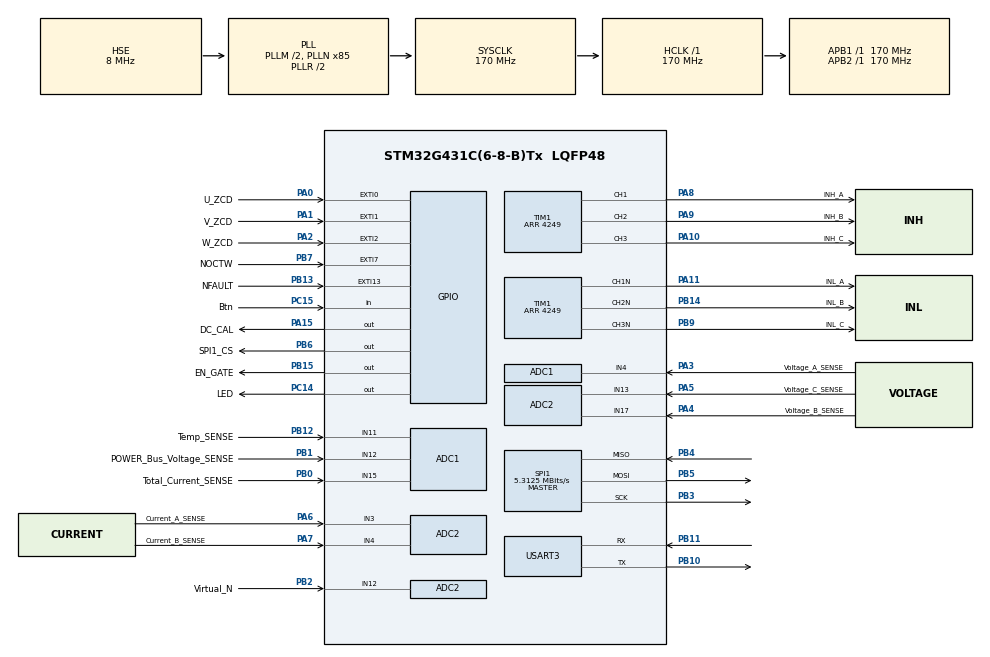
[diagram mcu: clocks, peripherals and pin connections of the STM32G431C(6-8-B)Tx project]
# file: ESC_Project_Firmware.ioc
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ADC1.Channel-0\#ChannelRegularConversion=ADC_CHANNEL_4
ADC1.Channel-1\#ChannelRegularConversion=ADC_CHANNEL_11
ADC1.Channel-2\#ChannelRegularConversion=ADC_CHANNEL_12
ADC1.Channel-3\#ChannelRegularConversion=ADC_CHANNEL_15
ADC1.ContinuousConvMode=ENABLE
ADC1.DMAContinuousRequests=ENABLE
ADC1.EOCSelection=ADC_EOC_SEQ_CONV
ADC1.NbrOfConversion=4
ADC1.NbrOfConversionFlag=1
ADC1.OffsetNumber-0\#ChannelRegularConversion=ADC_OFFSET_NONE
ADC1.OffsetNumber-1\#ChannelRegularConversion=ADC_OFFSET_NONE
ADC1.OffsetNumber-2\#ChannelRegularConversion=ADC_OFFSET_NONE
ADC1.OffsetNumber-3\#ChannelRegularConversion=ADC_OFFSET_NONE
ADC1.Rank-0\#ChannelRegularConversion=1
ADC1.Rank-1\#ChannelRegularConversion=2
ADC1.Rank-2\#ChannelRegularConversion=3
ADC1.Rank-3\#ChannelRegularConversion=4
ADC1.SamplingTime-0\#ChannelRegularConversion=ADC_SAMPLETIME_24CYCLES_5
ADC1.SamplingTime-1\#ChannelRegularConversion=ADC_SAMPLETIME_24CYCLES_5
ADC1.SamplingTime-2\#ChannelRegularConversion=ADC_SAMPLETIME_24CYCLES_5
ADC1.SamplingTime-3\#ChannelRegularConversion=ADC_SAMPLETIME_24CYCLES_5
ADC1.master=1
ADC2.Channel-0\#ChannelRegularConversion=ADC_CHANNEL_12
ADC2.Channel-5\#ChannelRegularConversion=ADC_CHANNEL_13
ADC2.Channel-6\#ChannelRegularConversion=ADC_CHANNEL_17
ADC2.ContinuousConvMode=DISABLE
ADC2.DMAContinuousRequests=ENABLE
ADC2.EOCSelection=ADC_EOC_SEQ_CONV
ADC2.EnableInjectedConversion=ENABLE
ADC2.EnableInjectedOversampling=ENABLE
ADC2.ExternalTrigInjecConv=ADC_EXTERNALTRIGINJEC_T1_TRGO
ADC2.InjNumberOfConversion=2
ADC2.InjOversamplingRatio=ADC_OVERSAMPLING_RATIO_8
ADC2.InjOversamplingRightShift=ADC_RIGHTBITSHIFT_3
ADC2.InjectedChannel-10\#ChannelInjectedConversion=ADC_CHANNEL_4
ADC2.InjectedChannel-9\#ChannelInjectedConversion=ADC_CHANNEL_3
ADC2.InjectedOffsetNumber-10\#ChannelInjectedConversion=ADC_OFFSET_NONE
ADC2.InjectedOffsetNumber-9\#ChannelInjectedConversion=ADC_OFFSET_NONE
ADC2.InjectedRank-10\#ChannelInjectedConversion=2
ADC2.InjectedRank-9\#ChannelInjectedConversion=1
ADC2.InjectedSamplingTime-10\#ChannelInjectedConversion=ADC_SAMPLETIME_24CYCLES_5
ADC2.InjectedSamplingTime-9\#ChannelInjectedConversion=ADC_SAMPLETIME_24CYCLES_5
ADC2.NbrOfConversion=3
ADC2.NbrOfConversionFlag=1
ADC2.OffsetNumber-0\#ChannelRegularConversion=ADC_OFFSET_NONE
ADC2.OffsetNumber-5\#ChannelRegularConversion=ADC_OFFSET_NONE
ADC2.OffsetNumber-6\#ChannelRegularConversion=ADC_OFFSET_NONE
ADC2.Rank-0\#ChannelRegularConversion=1
ADC2.Rank-5\#ChannelRegularConversion=2
ADC2.Rank-6\#ChannelRegularConversion=3
ADC2.Rank1_Channel=ADC_CHANNEL_3
ADC2.Rank2_Channel=ADC_CHANNEL_4
ADC2.SamplingTime-0\#ChannelRegularConversion=ADC_SAMPLETIME_24CYCLES_5
ADC2.SamplingTime-5\#ChannelRegularConversion=ADC_SAMPLETIME_24CYCLES_5
ADC2.SamplingTime-6\#ChannelRegularConversion=ADC_SAMPLETIME_24CYCLES_5
ADC2.injectedQueueMode=ENABLE
Dma.ADC1.0.Direction=DMA_PERIPH_TO_MEMORY
Dma.ADC1.0.EventEnable=DISABLE
Dma.ADC1.0.Instance=DMA1_Channel1
Dma.ADC1.0.MemDataAlignment=DMA_MDATAALIGN_HALFWORD
Dma.ADC1.0.MemInc=DMA_MINC_ENABLE
Dma.ADC1.0.Mode=DMA_CIRCULAR
Dma.ADC1.0.PeriphDataAlignment=DMA_PDATAALIGN_HALFWORD
Dma.ADC1.0.PeriphInc=DMA_PINC_DISABLE
Dma.ADC1.0.Polarity=HAL_DMAMUX_REQ_GEN_RISING
Dma.ADC1.0.Priority=DMA_PRIORITY_HIGH
Dma.ADC1.0.RequestNumber=1
Dma.ADC1.0.SignalID=NONE
Dma.ADC1.0.SyncEnable=DISABLE
Dma.ADC1.0.SyncPolarity=HAL_DMAMUX_SYNC_NO_EVENT
Dma.ADC1.0.SyncRequestNumber=1
Dma.ADC1.0.SyncSignalID=NONE
Dma.ADC2.3.Direction=DMA_PERIPH_TO_MEMORY
Dma.ADC2.3.EventEnable=DISABLE
Dma.ADC2.3.Instance=DMA1_Channel2
Dma.ADC2.3.MemDataAlignment=DMA_MDATAALIGN_HALFWORD
Dma.ADC2.3.MemInc=DMA_MINC_ENABLE
Dma.ADC2.3.Mode=DMA_CIRCULAR
Dma.ADC2.3.PeriphDataAlignment=DMA_PDATAALIGN_HALFWORD
Dma.ADC2.3.PeriphInc=DMA_PINC_DISABLE
Dma.ADC2.3.Polarity=HAL_DMAMUX_REQ_GEN_RISING
Dma.ADC2.3.Priority=DMA_PRIORITY_MEDIUM
Dma.ADC2.3.RequestNumber=1
Dma.ADC2.3.SignalID=NONE
Dma.ADC2.3.SyncEnable=DISABLE
Dma.ADC2.3.SyncPolarity=HAL_DMAMUX_SYNC_NO_EVENT
Dma.ADC2.3.SyncRequestNumber=1
Dma.ADC2.3.SyncSignalID=NONE
Dma.Request0=ADC1
Dma.Request1=USART3_TX
Dma.Request2=USART3_RX
Dma.Request3=ADC2
Dma.USART3_RX.2.Direction=DMA_PERIPH_TO_MEMORY
Dma.USART3_RX.2.EventEnable=DISABLE
Dma.USART3_RX.2.Instance=DMA1_Channel4
Dma.USART3_RX.2.MemDataAlignment=DMA_MDATAALIGN_BYTE
Dma.USART3_RX.2.MemInc=DMA_MINC_ENABLE
Dma.USART3_RX.2.Mode=DMA_CIRCULAR
Dma.USART3_RX.2.PeriphDataAlignment=DMA_PDATAALIGN_BYTE
Dma.USART3_RX.2.PeriphInc=DMA_PINC_DISABLE
Dma.USART3_RX.2.Polarity=HAL_DMAMUX_REQ_GEN_RISING
Dma.USART3_RX.2.Priority=DMA_PRIORITY_MEDIUM
Dma.USART3_RX.2.RequestNumber=1
Dma.USART3_RX.2.SignalID=NONE
Dma.USART3_RX.2.SyncEnable=DISABLE
Dma.USART3_RX.2.SyncPolarity=HAL_DMAMUX_SYNC_NO_EVENT
Dma.USART3_RX.2.SyncRequestNumber=1
Dma.USART3_RX.2.SyncSignalID=NONE
Dma.USART3_TX.1.Direction=DMA_MEMORY_TO_PERIPH
Dma.USART3_TX.1.EventEnable=DISABLE
Dma.USART3_TX.1.Instance=DMA1_Channel3
Dma.USART3_TX.1.MemDataAlignment=DMA_MDATAALIGN_BYTE
Dma.USART3_TX.1.MemInc=DMA_MINC_ENABLE
Dma.USART3_TX.1.Mode=DMA_NORMAL
Dma.USART3_TX.1.PeriphDataAlignment=DMA_PDATAALIGN_BYTE
Dma.USART3_TX.1.PeriphInc=DMA_PINC_DISABLE
Dma.USART3_TX.1.Polarity=HAL_DMAMUX_REQ_GEN_RISING
Dma.USART3_TX.1.Priority=DMA_PRIORITY_LOW
Dma.USART3_TX.1.RequestNumber=1
Dma.USART3_TX.1.SignalID=NONE
Dma.USART3_TX.1.SyncEnable=DISABLE
Dma.USART3_TX.1.SyncPolarity=HAL_DMAMUX_SYNC_NO_EVENT
Dma.USART3_TX.1.SyncRequestNumber=1
Dma.USART3_TX.1.SyncSignalID=NONE
Mcu.Family=STM32G4
Mcu.Name=STM32G431C(6-8-B)Tx
Mcu.Package=LQFP48
NVIC.ADC1_2_IRQn=true\:0\:0\:false\:false\:true\:true\:true\:true
NVIC.DMA1_Channel1_IRQn=true\:0\:0\:false\:false\:true\:false\:true\:true
NVIC.DMA1_Channel2_IRQn=true\:0\:0\:false\:false\:true\:false\:true\:true
NVIC.DMA1_Channel3_IRQn=true\:0\:0\:false\:false\:true\:false\:true\:true
NVIC.DMA1_Channel4_IRQn=true\:0\:0\:false\:false\:true\:false\:true\:true
NVIC.PriorityGroup=NVIC_PRIORITYGROUP_4
NVIC.USART3_IRQn=true\:0\:0\:false\:false\:true\:false\:true\:true
PA0.GPIO_Label=U_ZCD
PA0.GPIO_ModeDefaultEXTI=GPIO_MODE_IT_RISING_FALLING
PA0.Signal=GPXTI0
PA1.GPIO_Label=V_ZCD
PA1.GPIO_ModeDefaultEXTI=GPIO_MODE_IT_RISING_FALLING
PA1.Signal=GPXTI1
PA10.GPIO_Label=INH_C
PA10.GPIO_Speed=GPIO_SPEED_FREQ_HIGH
PA10.Signal=S_TIM1_CH3
PA11.GPIO_Label=INL_A
PA11.GPIO_Speed=GPIO_SPEED_FREQ_HIGH
PA11.Mode=PWM Generation1 CH1 CH1N
PA11.Signal=TIM1_CH1N
PA13.Mode=Serial_Wire
PA13.Signal=SYS_JTMS-SWDIO
PA14.Mode=Serial_Wire
PA14.Signal=SYS_JTCK-SWCLK
PA15.GPIO_Label=DC_CAL
PA15.Signal=GPIO_Output
PA2.GPIO_Label=W_ZCD
PA2.GPIO_ModeDefaultEXTI=GPIO_MODE_IT_RISING_FALLING
PA2.Signal=GPXTI2
PA3.GPIO_Label=Voltage_A_SENSE
PA3.Mode=IN4-Single-Ended
PA3.Signal=ADC1_IN4
PA4.GPIO_Label=Voltage_B_SENSE
PA4.Mode=IN17-Single-Ended
PA4.Signal=ADC2_IN17
PA5.GPIO_Label=Voltage_C_SENSE
PA5.Mode=IN13-Single-Ended
PA5.Signal=ADC2_IN13
PA6.GPIO_Label=Current_A_SENSE
PA6.Mode=IN3-Single-Ended
PA6.Signal=ADC2_IN3
PA7.GPIO_Label=Current_B_SENSE
PA7.Mode=IN4-Single-Ended
PA7.Signal=ADC2_IN4
PA8.GPIO_Label=INH_A
PA8.GPIO_Speed=GPIO_SPEED_FREQ_HIGH
PA8.Signal=S_TIM1_CH1
PA9.GPIO_Label=INH_B
PA9.GPIO_Speed=GPIO_SPEED_FREQ_HIGH
PA9.Signal=S_TIM1_CH2
PB0.GPIO_Label=Total_Current_SENSE
PB0.Mode=IN15-Single-Ended
PB0.Signal=ADC1_IN15
PB1.GPIO_Label=POWER_Bus_Voltage_SENSE
PB1.Mode=IN12-Single-Ended
PB1.Signal=ADC1_IN12
PB10.Mode=Asynchronous
PB10.Signal=USART3_TX
PB11.Mode=Asynchronous
PB11.Signal=USART3_RX
PB12.GPIO_Label=Temp_SENSE
PB12.Mode=IN11-Single-Ended
PB12.Signal=ADC1_IN11
PB13.GPIO_Label=NFAULT
PB13.GPIO_ModeDefaultEXTI=GPIO_MODE_IT_FALLING
PB13.Signal=GPXTI13
PB14.GPIO_Label=INL_B
PB14.GPIO_Speed=GPIO_SPEED_FREQ_HIGH
PB14.Mode=PWM Generation2 CH2 CH2N
PB14.Signal=TIM1_CH2N
PB15.GPIO_Label=EN_GATE
PB15.Signal=GPIO_Output
PB2.GPIO_Label=Virtual_N
PB2.Mode=IN12-Single-Ended
PB2.Signal=ADC2_IN12
PB3.GPIO_Speed=GPIO_SPEED_FREQ_HIGH
PB3.Mode=Full_Duplex_Master
PB3.Signal=SPI1_SCK
PB4.GPIO_Speed=GPIO_SPEED_FREQ_HIGH
PB4.Mode=Full_Duplex_Master
PB4.Signal=SPI1_MISO
PB5.GPIO_Speed=GPIO_SPEED_FREQ_HIGH
PB5.Mode=Full_Duplex_Master
PB5.Signal=SPI1_MOSI
PB6.GPIO_Label=SPI1_CS
PB6.GPIO_Speed=GPIO_SPEED_FREQ_HIGH
PB6.Signal=GPIO_Output
PB7.GPIO_Label=NOCTW
PB7.GPIO_ModeDefaultEXTI=GPIO_MODE_IT_FALLING
PB7.Signal=GPXTI7
PB9.GPIO_Label=INL_C
PB9.GPIO_Speed=GPIO_SPEED_FREQ_HIGH
PB9.Mode=PWM Generation3 CH3 CH3N
PB9.Signal=TIM1_CH3N
PC14-OSC32_IN.GPIO_Label=LED
PC14-OSC32_IN.Signal=GPIO_Output
PC15-OSC32_OUT.GPIO_Label=Btn
PC15-OSC32_OUT.GPIO_PuPd=GPIO_PULLUP
PC15-OSC32_OUT.Signal=GPIO_Input
PF0-OSC_IN.Mode=HSE-External-Clock-Source
PF0-OSC_IN.Signal=RCC_OSC_IN
ProjectManager.HeapSize=0x200
ProjectManager.StackSize=0x400
ProjectManager.TargetToolchain=STM32CubeIDE
RCC.ADC12Freq_Value=170000000
RCC.AHBFreq_Value=170000000
RCC.APB1Freq_Value=170000000
RCC.APB1TimFreq_Value=170000000
RCC.APB2Freq_Value=170000000
RCC.APB2TimFreq_Value=170000000
RCC.CortexFreq_Value=170000000
RCC.EXTERNAL_CLOCK_VALUE=12288000
RCC.HCLKFreq_Value=170000000
RCC.HSE_VALUE=8000000
RCC.HSI48_VALUE=48000000
RCC.HSI_VALUE=16000000
RCC.LSE_VALUE=32768
RCC.PLLM=RCC_PLLM_DIV2
RCC.PLLN=85
RCC.PLLSourceVirtual=RCC_PLLSOURCE_HSE
RCC.SYSCLKFreq_VALUE=170000000
RCC.SYSCLKSource=RCC_SYSCLKSOURCE_PLLCLK
RCC.USBFreq_Value=170000000
RCC.VCOOutputFreq_Value=340000000
SH.S_TIM1_CH1.0=TIM1_CH1,PWM Generation1 CH1 CH1N
SH.S_TIM1_CH2.0=TIM1_CH2,PWM Generation2 CH2 CH2N
SH.S_TIM1_CH3.0=TIM1_CH3,PWM Generation3 CH3 CH3N
SPI1.BaudRatePrescaler=SPI_BAUDRATEPRESCALER_32
SPI1.CLKPhase=SPI_PHASE_2EDGE
SPI1.CalculateBaudRate=5.3125 MBits/s
SPI1.DataSize=SPI_DATASIZE_16BIT
SPI1.Direction=SPI_DIRECTION_2LINES
SPI1.Mode=SPI_MODE_MASTER
SPI1.VirtualType=VM_MASTER
TIM1.AutoReloadPreload=TIM_AUTORELOAD_PRELOAD_ENABLE
TIM1.AutomaticOutput=TIM_AUTOMATICOUTPUT_ENABLE
TIM1.Channel-PWM\ Generation1\ CH1\ CH1N=TIM_CHANNEL_1
TIM1.Channel-PWM\ Generation2\ CH2\ CH2N=TIM_CHANNEL_2
TIM1.Channel-PWM\ Generation3\ CH3\ CH3N=TIM_CHANNEL_3
TIM1.CounterMode=TIM_COUNTERMODE_CENTERALIGNED1
TIM1.DeadTime=85
TIM1.PeriodNoDither=4249
TIM1.TIM_MasterOutputTrigger=TIM_TRGO_UPDATE
USART3.VirtualMode-Asynchronous=VM_ASYNC
VP_SYS_VS_DBSignals.Mode=DisableDeadBatterySignals
VP_TIM1_VS_ClockSourceINT.Mode=Internal
board=custom

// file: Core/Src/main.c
/* USER CODE BEGIN Header */
/**
  ******************************************************************************
  * @file           : main.c
  * @brief          : Main program body
  ******************************************************************************
  * @attention
  *
  * Copyright (c) 2026 STMicroelectronics.
  * All rights reserved.
  *
  * This software is licensed under terms that can be found in the LICENSE file
  * in the root directory of this software component.
  * If no LICENSE file comes with this software, it is provided AS-IS.
  *
  ******************************************************************************
  */
/* USER CODE END Header */
#include "main.h"

/* USER CODE BEGIN Includes */
#include "app.h"
#include "sensor.h"
/* USER CODE END Includes */

ADC_HandleTypeDef hadc1;
ADC_HandleTypeDef hadc2;
DMA_HandleTypeDef hdma_adc1;
DMA_HandleTypeDef hdma_adc2;

SPI_HandleTypeDef hspi1;

TIM_HandleTypeDef htim1;

UART_HandleTypeDef huart3;
DMA_HandleTypeDef hdma_usart3_tx;
DMA_HandleTypeDef hdma_usart3_rx;

/* USER CODE BEGIN PV */

TIM_HandleTypeDef htim17;   // <-- Define here
uint16_t adc1_buffer[4]; // ADC1	[4,11,12,15]
uint16_t adc2_buffer[3]; // ADC2	[3,4,12,13,17]
uint16_t adc1_buffer_filtered[4]; // ADC1	[4,11,12,15]
uint16_t adc2_buffer_filtered[3]; // ADC2	[3,4,12,13,17]
uint16_t adc2_current_a = 0;
uint16_t adc2_current_b = 0;
uint16_t adc2_current_a_ffiltered = 0;;
uint16_t adc2_current_b_filtered = 0;
float current_offset_a_adc = 0;
float current_offset_b_adc = 0;
//uint16_t current_offset_a_adc = 0;
//uint16_t current_offset_b_adc = 0;
uint16_t voltage_a = 0;
uint16_t voltage_b = 0;
uint16_t voltage_c = 0;
int16_t current_a = 0;
int16_t current_b = 0;
int16_t current_c = 0;
int16_t temperature = 0;
int16_t bus_voltage = 0;
int16_t total_current = 0;

volatile uint8_t updateFlag = 0;

/* USER CODE END PV */

void SystemClock_Config(void);
static void MX_GPIO_Init(void);
static void MX_DMA_Init(void);
static void MX_ADC1_Init(void);
static void MX_ADC2_Init(void);
static void MX_SPI1_Init(void);
static void MX_TIM1_Init(void);
static void MX_USART3_UART_Init(void);

int main(void)
{

  /* MCU Configuration--------------------------------------------------------*/

  /* Reset of all peripherals, Initializes the Flash interface and the Systick. */
  HAL_Init();

  /* Configure the system clock */
  SystemClock_Config();

  /* Initialize all configured peripherals */
  MX_GPIO_Init();
  MX_DMA_Init();
  MX_ADC1_Init();
  MX_ADC2_Init();
  MX_SPI1_Init();
  MX_TIM1_Init();
  MX_USART3_UART_Init();
  /* USER CODE BEGIN 2 */
  //HAL_ADCEx_Calibration_Start(&hadc1, ADC_SINGLE_ENDED);
  //HAL_ADCEx_Calibration_Start(&hadc2, ADC_SINGLE_ENDED);
  App_Setup();
  /* USER CODE END 2 */

  /* Infinite loop */
  while (1)
  {

    /* USER CODE BEGIN 3 */
	  App_Main_Loop();
  }
  /* USER CODE END 3 */
}

void SystemClock_Config(void)
{
  RCC_OscInitTypeDef RCC_OscInitStruct = {0};
  RCC_ClkInitTypeDef RCC_ClkInitStruct = {0};

  /** Configure the main internal regulator output voltage
  */
  HAL_PWREx_ControlVoltageScaling(PWR_REGULATOR_VOLTAGE_SCALE1_BOOST);

  /** Initializes the RCC Oscillators according to the specified parameters
  * in the RCC_OscInitTypeDef structure.
  */
  RCC_OscInitStruct.OscillatorType = RCC_OSCILLATORTYPE_HSE;
  RCC_OscInitStruct.HSEState = RCC_HSE_BYPASS;
  RCC_OscInitStruct.PLL.PLLState = RCC_PLL_ON;
  RCC_OscInitStruct.PLL.PLLSource = RCC_PLLSOURCE_HSE;
  RCC_OscInitStruct.PLL.PLLM = RCC_PLLM_DIV2;
  RCC_OscInitStruct.PLL.PLLN = 85;
  RCC_OscInitStruct.PLL.PLLP = RCC_PLLP_DIV2;
  RCC_OscInitStruct.PLL.PLLQ = RCC_PLLQ_DIV2;
  RCC_OscInitStruct.PLL.PLLR = RCC_PLLR_DIV2;
  if (HAL_RCC_OscConfig(&RCC_OscInitStruct) != HAL_OK)
  {
    Error_Handler();
  }

  /** Initializes the CPU, AHB and APB buses clocks
  */
  RCC_ClkInitStruct.ClockType = RCC_CLOCKTYPE_HCLK|RCC_CLOCKTYPE_SYSCLK
                              |RCC_CLOCKTYPE_PCLK1|RCC_CLOCKTYPE_PCLK2;
  RCC_ClkInitStruct.SYSCLKSource = RCC_SYSCLKSOURCE_PLLCLK;
  RCC_ClkInitStruct.AHBCLKDivider = RCC_SYSCLK_DIV1;
  RCC_ClkInitStruct.APB1CLKDivider = RCC_HCLK_DIV1;
  RCC_ClkInitStruct.APB2CLKDivider = RCC_HCLK_DIV1;

  if (HAL_RCC_ClockConfig(&RCC_ClkInitStruct, FLASH_LATENCY_4) != HAL_OK)
  {
    Error_Handler();
  }
}

static void MX_ADC1_Init(void)
{

  ADC_MultiModeTypeDef multimode = {0};
  ADC_ChannelConfTypeDef sConfig = {0};

  /** Common config
  */
  hadc1.Instance = ADC1;
  hadc1.Init.ClockPrescaler = ADC_CLOCK_SYNC_PCLK_DIV4;
  hadc1.Init.Resolution = ADC_RESOLUTION_12B;
  hadc1.Init.DataAlign = ADC_DATAALIGN_RIGHT;
  hadc1.Init.GainCompensation = 0;
  hadc1.Init.ScanConvMode = ADC_SCAN_ENABLE;
  hadc1.Init.EOCSelection = ADC_EOC_SEQ_CONV;
  hadc1.Init.LowPowerAutoWait = DISABLE;
  hadc1.Init.ContinuousConvMode = ENABLE;
  hadc1.Init.NbrOfConversion = 4;
  hadc1.Init.DiscontinuousConvMode = DISABLE;
  hadc1.Init.ExternalTrigConv = ADC_SOFTWARE_START;
  hadc1.Init.ExternalTrigConvEdge = ADC_EXTERNALTRIGCONVEDGE_NONE;
  hadc1.Init.DMAContinuousRequests = ENABLE;
  hadc1.Init.Overrun = ADC_OVR_DATA_PRESERVED;
  hadc1.Init.OversamplingMode = DISABLE;
  if (HAL_ADC_Init(&hadc1) != HAL_OK)
  {
    Error_Handler();
  }

  /** Configure the ADC multi-mode
  */
  multimode.Mode = ADC_MODE_INDEPENDENT;
  if (HAL_ADCEx_MultiModeConfigChannel(&hadc1, &multimode) != HAL_OK)
  {
    Error_Handler();
  }

  /** Configure Regular Channel
  */
  sConfig.Channel = ADC_CHANNEL_4;
  sConfig.Rank = ADC_REGULAR_RANK_1;
  sConfig.SamplingTime = ADC_SAMPLETIME_24CYCLES_5;
  sConfig.SingleDiff = ADC_SINGLE_ENDED;
  sConfig.OffsetNumber = ADC_OFFSET_NONE;
  sConfig.Offset = 0;
  if (HAL_ADC_ConfigChannel(&hadc1, &sConfig) != HAL_OK)
  {
    Error_Handler();
  }

  /** Configure Regular Channel
  */
  sConfig.Channel = ADC_CHANNEL_11;
  sConfig.Rank = ADC_REGULAR_RANK_2;
  if (HAL_ADC_ConfigChannel(&hadc1, &sConfig) != HAL_OK)
  {
    Error_Handler();
  }

  /** Configure Regular Channel
  */
  sConfig.Channel = ADC_CHANNEL_12;
  sConfig.Rank = ADC_REGULAR_RANK_3;
  if (HAL_ADC_ConfigChannel(&hadc1, &sConfig) != HAL_OK)
  {
    Error_Handler();
  }

  /** Configure Regular Channel
  */
  sConfig.Channel = ADC_CHANNEL_15;
  sConfig.Rank = ADC_REGULAR_RANK_4;
  if (HAL_ADC_ConfigChannel(&hadc1, &sConfig) != HAL_OK)
  {
    Error_Handler();
  }

}

static void MX_ADC2_Init(void)
{

  ADC_ChannelConfTypeDef sConfig = {0};
  ADC_InjectionConfTypeDef sConfigInjected = {0};

  /** Common config
  */
  hadc2.Instance = ADC2;
  hadc2.Init.ClockPrescaler = ADC_CLOCK_SYNC_PCLK_DIV4;
  hadc2.Init.Resolution = ADC_RESOLUTION_12B;
  hadc2.Init.DataAlign = ADC_DATAALIGN_RIGHT;
  hadc2.Init.GainCompensation = 0;
  hadc2.Init.ScanConvMode = ADC_SCAN_ENABLE;
  hadc2.Init.EOCSelection = ADC_EOC_SEQ_CONV;
  hadc2.Init.LowPowerAutoWait = DISABLE;
  hadc2.Init.ContinuousConvMode = DISABLE;
  hadc2.Init.NbrOfConversion = 3;
  hadc2.Init.DiscontinuousConvMode = DISABLE;
  hadc2.Init.ExternalTrigConv = ADC_SOFTWARE_START;
  hadc2.Init.ExternalTrigConvEdge = ADC_EXTERNALTRIGCONVEDGE_NONE;
  hadc2.Init.DMAContinuousRequests = ENABLE;
  hadc2.Init.Overrun = ADC_OVR_DATA_PRESERVED;
  hadc2.Init.OversamplingMode = DISABLE;
  if (HAL_ADC_Init(&hadc2) != HAL_OK)
  {
    Error_Handler();
  }

  /** Configure Regular Channel
  */
  sConfig.Channel = ADC_CHANNEL_12;
  sConfig.Rank = ADC_REGULAR_RANK_1;
  sConfig.SamplingTime = ADC_SAMPLETIME_24CYCLES_5;
  sConfig.SingleDiff = ADC_SINGLE_ENDED;
  sConfig.OffsetNumber = ADC_OFFSET_NONE;
  sConfig.Offset = 0;
  if (HAL_ADC_ConfigChannel(&hadc2, &sConfig) != HAL_OK)
  {
    Error_Handler();
  }

  /** Configure Regular Channel
  */
  sConfig.Channel = ADC_CHANNEL_13;
  sConfig.Rank = ADC_REGULAR_RANK_2;
  if (HAL_ADC_ConfigChannel(&hadc2, &sConfig) != HAL_OK)
  {
    Error_Handler();
  }

  /** Configure Regular Channel
  */
  sConfig.Channel = ADC_CHANNEL_17;
  sConfig.Rank = ADC_REGULAR_RANK_3;
  if (HAL_ADC_ConfigChannel(&hadc2, &sConfig) != HAL_OK)
  {
    Error_Handler();
  }

  /** Configure Injected Channel
  */
  sConfigInjected.InjectedChannel = ADC_CHANNEL_3;
  sConfigInjected.InjectedRank = ADC_INJECTED_RANK_1;
  sConfigInjected.InjectedSamplingTime = ADC_SAMPLETIME_24CYCLES_5;
  sConfigInjected.InjectedSingleDiff = ADC_SINGLE_ENDED;
  sConfigInjected.InjectedOffsetNumber = ADC_OFFSET_NONE;
  sConfigInjected.InjectedOffset = 0;
  sConfigInjected.InjectedNbrOfConversion = 2;
  sConfigInjected.InjectedDiscontinuousConvMode = DISABLE;
  sConfigInjected.AutoInjectedConv = DISABLE;
  sConfigInjected.QueueInjectedContext = DISABLE;
  sConfigInjected.ExternalTrigInjecConv = ADC_EXTERNALTRIGINJEC_T1_TRGO;
  sConfigInjected.ExternalTrigInjecConvEdge = ADC_EXTERNALTRIGINJECCONV_EDGE_RISING;
  sConfigInjected.InjecOversamplingMode = ENABLE;
  sConfigInjected.InjecOversampling.Ratio = ADC_OVERSAMPLING_RATIO_8;
  sConfigInjected.InjecOversampling.RightBitShift = ADC_RIGHTBITSHIFT_3;
  if (HAL_ADCEx_InjectedConfigChannel(&hadc2, &sConfigInjected) != HAL_OK)
  {
    Error_Handler();
  }
  if (HAL_ADCEx_EnableInjectedQueue(&hadc2) != HAL_OK)
  {
    Error_Handler();
  }

  /** Configure Injected Channel
  */
  sConfigInjected.InjectedChannel = ADC_CHANNEL_4;
  sConfigInjected.InjectedRank = ADC_INJECTED_RANK_2;
  if (HAL_ADCEx_InjectedConfigChannel(&hadc2, &sConfigInjected) != HAL_OK)
  {
    Error_Handler();
  }

}

static void MX_SPI1_Init(void)
{

  /* SPI1 parameter configuration*/
  hspi1.Instance = SPI1;
  hspi1.Init.Mode = SPI_MODE_MASTER;
  hspi1.Init.Direction = SPI_DIRECTION_2LINES;
  hspi1.Init.DataSize = SPI_DATASIZE_16BIT;
  hspi1.Init.CLKPolarity = SPI_POLARITY_LOW;
  hspi1.Init.CLKPhase = SPI_PHASE_2EDGE;
  hspi1.Init.NSS = SPI_NSS_SOFT;
  hspi1.Init.BaudRatePrescaler = SPI_BAUDRATEPRESCALER_32;
  hspi1.Init.FirstBit = SPI_FIRSTBIT_MSB;
  hspi1.Init.TIMode = SPI_TIMODE_DISABLE;
  hspi1.Init.CRCCalculation = SPI_CRCCALCULATION_DISABLE;
  hspi1.Init.CRCPolynomial = 7;
  hspi1.Init.CRCLength = SPI_CRC_LENGTH_DATASIZE;
  hspi1.Init.NSSPMode = SPI_NSS_PULSE_DISABLE;
  if (HAL_SPI_Init(&hspi1) != HAL_OK)
  {
    Error_Handler();
  }

}

static void MX_TIM1_Init(void)
{

  TIM_ClockConfigTypeDef sClockSourceConfig = {0};
  TIM_MasterConfigTypeDef sMasterConfig = {0};
  TIM_OC_InitTypeDef sConfigOC = {0};
  TIM_BreakDeadTimeConfigTypeDef sBreakDeadTimeConfig = {0};

  htim1.Instance = TIM1;
  htim1.Init.Prescaler = 0;
  htim1.Init.CounterMode = TIM_COUNTERMODE_CENTERALIGNED1;
  htim1.Init.Period = 4249;
  htim1.Init.ClockDivision = TIM_CLOCKDIVISION_DIV1;
  htim1.Init.RepetitionCounter = 0;
  htim1.Init.AutoReloadPreload = TIM_AUTORELOAD_PRELOAD_ENABLE;
  if (HAL_TIM_Base_Init(&htim1) != HAL_OK)
  {
    Error_Handler();
  }
  sClockSourceConfig.ClockSource = TIM_CLOCKSOURCE_INTERNAL;
  if (HAL_TIM_ConfigClockSource(&htim1, &sClockSourceConfig) != HAL_OK)
  {
    Error_Handler();
  }
  if (HAL_TIM_PWM_Init(&htim1) != HAL_OK)
  {
    Error_Handler();
  }
  sMasterConfig.MasterOutputTrigger = TIM_TRGO_UPDATE;
  sMasterConfig.MasterOutputTrigger2 = TIM_TRGO2_RESET;
  sMasterConfig.MasterSlaveMode = TIM_MASTERSLAVEMODE_DISABLE;
  if (HAL_TIMEx_MasterConfigSynchronization(&htim1, &sMasterConfig) != HAL_OK)
  {
    Error_Handler();
  }
  sConfigOC.OCMode = TIM_OCMODE_PWM1;
  sConfigOC.Pulse = 0;
  sConfigOC.OCPolarity = TIM_OCPOLARITY_HIGH;
  sConfigOC.OCNPolarity = TIM_OCNPOLARITY_HIGH;
  sConfigOC.OCFastMode = TIM_OCFAST_DISABLE;
  sConfigOC.OCIdleState = TIM_OCIDLESTATE_RESET;
  sConfigOC.OCNIdleState = TIM_OCNIDLESTATE_RESET;
  if (HAL_TIM_PWM_ConfigChannel(&htim1, &sConfigOC, TIM_CHANNEL_1) != HAL_OK)
  {
    Error_Handler();
  }
  if (HAL_TIM_PWM_ConfigChannel(&htim1, &sConfigOC, TIM_CHANNEL_2) != HAL_OK)
  {
    Error_Handler();
  }
  if (HAL_TIM_PWM_ConfigChannel(&htim1, &sConfigOC, TIM_CHANNEL_3) != HAL_OK)
  {
    Error_Handler();
  }
  sBreakDeadTimeConfig.OffStateRunMode = TIM_OSSR_DISABLE;
  sBreakDeadTimeConfig.OffStateIDLEMode = TIM_OSSI_DISABLE;
  sBreakDeadTimeConfig.LockLevel = TIM_LOCKLEVEL_OFF;
  sBreakDeadTimeConfig.DeadTime = 85;
  sBreakDeadTimeConfig.BreakState = TIM_BREAK_DISABLE;
  sBreakDeadTimeConfig.BreakPolarity = TIM_BREAKPOLARITY_HIGH;
  sBreakDeadTimeConfig.BreakFilter = 0;
  sBreakDeadTimeConfig.BreakAFMode = TIM_BREAK_AFMODE_INPUT;
  sBreakDeadTimeConfig.Break2State = TIM_BREAK2_DISABLE;
  sBreakDeadTimeConfig.Break2Polarity = TIM_BREAK2POLARITY_HIGH;
  sBreakDeadTimeConfig.Break2Filter = 0;
  sBreakDeadTimeConfig.Break2AFMode = TIM_BREAK_AFMODE_INPUT;
  sBreakDeadTimeConfig.AutomaticOutput = TIM_AUTOMATICOUTPUT_ENABLE;
  if (HAL_TIMEx_ConfigBreakDeadTime(&htim1, &sBreakDeadTimeConfig) != HAL_OK)
  {
    Error_Handler();
  }
  HAL_TIM_MspPostInit(&htim1);

}

static void MX_USART3_UART_Init(void)
{

  huart3.Instance = USART3;
  huart3.Init.BaudRate = 115200;
  huart3.Init.WordLength = UART_WORDLENGTH_8B;
  huart3.Init.StopBits = UART_STOPBITS_1;
  huart3.Init.Parity = UART_PARITY_NONE;
  huart3.Init.Mode = UART_MODE_TX_RX;
  huart3.Init.HwFlowCtl = UART_HWCONTROL_NONE;
  huart3.Init.OverSampling = UART_OVERSAMPLING_16;
  huart3.Init.OneBitSampling = UART_ONE_BIT_SAMPLE_DISABLE;
  huart3.Init.ClockPrescaler = UART_PRESCALER_DIV1;
  huart3.AdvancedInit.AdvFeatureInit = UART_ADVFEATURE_NO_INIT;
  if (HAL_UART_Init(&huart3) != HAL_OK)
  {
    Error_Handler();
  }
  if (HAL_UARTEx_SetTxFifoThreshold(&huart3, UART_TXFIFO_THRESHOLD_1_8) != HAL_OK)
  {
    Error_Handler();
  }
  if (HAL_UARTEx_SetRxFifoThreshold(&huart3, UART_RXFIFO_THRESHOLD_1_8) != HAL_OK)
  {
    Error_Handler();
  }
  if (HAL_UARTEx_DisableFifoMode(&huart3) != HAL_OK)
  {
    Error_Handler();
  }

}

static void MX_DMA_Init(void)
{

  /* DMA controller clock enable */
  __HAL_RCC_DMAMUX1_CLK_ENABLE();
  __HAL_RCC_DMA1_CLK_ENABLE();

  /* DMA interrupt init */
  /* DMA1_Channel1_IRQn interrupt configuration */
  HAL_NVIC_SetPriority(DMA1_Channel1_IRQn, 0, 0);
  HAL_NVIC_EnableIRQ(DMA1_Channel1_IRQn);
  /* DMA1_Channel2_IRQn interrupt configuration */
  HAL_NVIC_SetPriority(DMA1_Channel2_IRQn, 0, 0);
  HAL_NVIC_EnableIRQ(DMA1_Channel2_IRQn);
  /* DMA1_Channel3_IRQn interrupt configuration */
  HAL_NVIC_SetPriority(DMA1_Channel3_IRQn, 0, 0);
  HAL_NVIC_EnableIRQ(DMA1_Channel3_IRQn);
  /* DMA1_Channel4_IRQn interrupt configuration */
  HAL_NVIC_SetPriority(DMA1_Channel4_IRQn, 0, 0);
  HAL_NVIC_EnableIRQ(DMA1_Channel4_IRQn);

}

static void MX_GPIO_Init(void)
{
  GPIO_InitTypeDef GPIO_InitStruct = {0};

  /* GPIO Ports Clock Enable */
  __HAL_RCC_GPIOC_CLK_ENABLE();
  __HAL_RCC_GPIOF_CLK_ENABLE();
  __HAL_RCC_GPIOA_CLK_ENABLE();
  __HAL_RCC_GPIOB_CLK_ENABLE();

  /*Configure GPIO pin Output Level */
  HAL_GPIO_WritePin(LED_GPIO_Port, LED_Pin, GPIO_PIN_RESET);

  /*Configure GPIO pin Output Level */
  HAL_GPIO_WritePin(GPIOB, EN_GATE_Pin|SPI1_CS_Pin, GPIO_PIN_RESET);

  /*Configure GPIO pin Output Level */
  HAL_GPIO_WritePin(DC_CAL_GPIO_Port, DC_CAL_Pin, GPIO_PIN_RESET);

  /*Configure GPIO pin : LED_Pin */
  GPIO_InitStruct.Pin = LED_Pin;
  GPIO_InitStruct.Mode = GPIO_MODE_OUTPUT_PP;
  GPIO_InitStruct.Pull = GPIO_NOPULL;
  GPIO_InitStruct.Speed = GPIO_SPEED_FREQ_LOW;
  HAL_GPIO_Init(LED_GPIO_Port, &GPIO_InitStruct);

  /*Configure GPIO pin : Btn_Pin */
  GPIO_InitStruct.Pin = Btn_Pin;
  GPIO_InitStruct.Mode = GPIO_MODE_INPUT;
  GPIO_InitStruct.Pull = GPIO_PULLUP;
  HAL_GPIO_Init(Btn_GPIO_Port, &GPIO_InitStruct);

  /*Configure GPIO pins : U_ZCD_Pin V_ZCD_Pin W_ZCD_Pin */
  GPIO_InitStruct.Pin = U_ZCD_Pin|V_ZCD_Pin|W_ZCD_Pin;
  GPIO_InitStruct.Mode = GPIO_MODE_IT_RISING_FALLING;
  GPIO_InitStruct.Pull = GPIO_NOPULL;
  HAL_GPIO_Init(GPIOA, &GPIO_InitStruct);

  /*Configure GPIO pins : NFAULT_Pin NOCTW_Pin */
  GPIO_InitStruct.Pin = NFAULT_Pin|NOCTW_Pin;
  GPIO_InitStruct.Mode = GPIO_MODE_IT_FALLING;
  GPIO_InitStruct.Pull = GPIO_NOPULL;
  HAL_GPIO_Init(GPIOB, &GPIO_InitStruct);

  /*Configure GPIO pin : EN_GATE_Pin */
  GPIO_InitStruct.Pin = EN_GATE_Pin;
  GPIO_InitStruct.Mode = GPIO_MODE_OUTPUT_PP;
  GPIO_InitStruct.Pull = GPIO_NOPULL;
  GPIO_InitStruct.Speed = GPIO_SPEED_FREQ_LOW;
  HAL_GPIO_Init(EN_GATE_GPIO_Port, &GPIO_InitStruct);

  /*Configure GPIO pin : DC_CAL_Pin */
  GPIO_InitStruct.Pin = DC_CAL_Pin;
  GPIO_InitStruct.Mode = GPIO_MODE_OUTPUT_PP;
  GPIO_InitStruct.Pull = GPIO_NOPULL;
  GPIO_InitStruct.Speed = GPIO_SPEED_FREQ_LOW;
  HAL_GPIO_Init(DC_CAL_GPIO_Port, &GPIO_InitStruct);

  /*Configure GPIO pin : SPI1_CS_Pin */
  GPIO_InitStruct.Pin = SPI1_CS_Pin;
  GPIO_InitStruct.Mode = GPIO_MODE_OUTPUT_PP;
  GPIO_InitStruct.Pull = GPIO_NOPULL;
  GPIO_InitStruct.Speed = GPIO_SPEED_FREQ_HIGH;
  HAL_GPIO_Init(SPI1_CS_GPIO_Port, &GPIO_InitStruct);

}

/* USER CODE BEGIN 4 */
void HAL_ADCEx_InjectedConvCpltCallback(ADC_HandleTypeDef* hadc) {
    if(hadc->Instance == ADC2) {
        // ১. ইনজেক্টড ডাটা (কারেন্ট) রিড করুন
    	adc2_current_a = HAL_ADCEx_InjectedGetValue(hadc, ADC_INJECTED_RANK_1);
    	adc2_current_b = HAL_ADCEx_InjectedGetValue(hadc, ADC_INJECTED_RANK_2);
    	updateFlag = 1;
        // ২. আপনার FOC ক্যালকুলেশন এখানে শুরু করুন
        // Run_FOC_Loop(current1, current2);

        // ৩. এখন রেগুলার চ্যানেলগুলো আপডেট করতে চাইলে (অপশনাল)
        Sensor_ADC2_DMA_Start();
    }
}

/* USER CODE END 4 */

void Error_Handler(void)
{
  __disable_irq();
  while (1)
  {
  }
}
